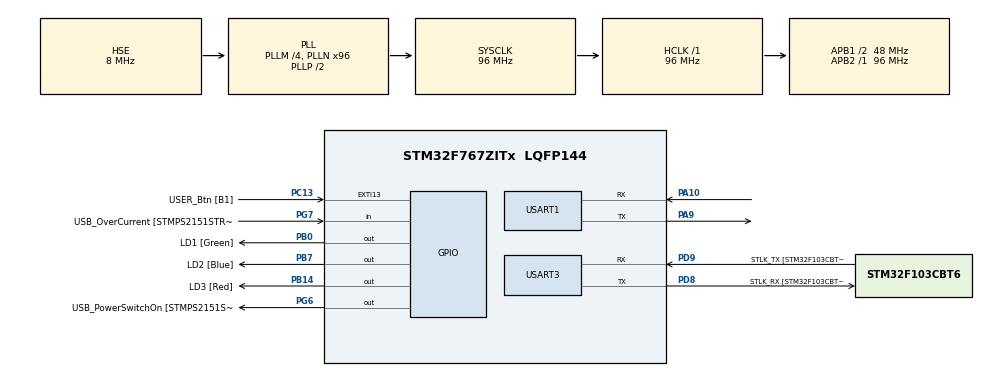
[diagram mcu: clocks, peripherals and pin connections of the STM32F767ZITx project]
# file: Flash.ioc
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Mcu.Family=STM32F7
Mcu.Name=STM32F767ZITx
Mcu.Package=LQFP144
NVIC.PriorityGroup=NVIC_PRIORITYGROUP_4
NVIC.TIM7_IRQn=true\:15\:0\:false\:false\:true\:false\:true\:true
NVIC.TimeBase=TIM7_IRQn
NVIC.TimeBaseIP=TIM7
NVIC.USART1_IRQn=true\:0\:0\:false\:false\:true\:true\:true\:true
PA10.Mode=Asynchronous
PA10.Signal=USART1_RX
PA13.GPIO_Label=TMS
PA13.Mode=Serial_Wire
PA13.Signal=SYS_JTMS-SWDIO
PA14.GPIO_Label=TCK
PA14.Mode=Serial_Wire
PA14.Signal=SYS_JTCK-SWCLK
PA9.Mode=Asynchronous
PA9.Signal=USART1_TX
PB0.GPIO_Label=LD1 [Green]
PB0.Signal=GPIO_Output
PB14.GPIO_Label=LD3 [Red]
PB14.Signal=GPIO_Output
PB7.GPIO_Label=LD2 [Blue]
PB7.Signal=GPIO_Output
PC13.GPIO_Label=USER_Btn [B1]
PC13.Signal=GPXTI13
PC14/OSC32_IN.Mode=LSE-External-Oscillator
PC14/OSC32_IN.Signal=RCC_OSC32_IN
PC15/OSC32_OUT.Mode=LSE-External-Oscillator
PC15/OSC32_OUT.Signal=RCC_OSC32_OUT
PD8.GPIO_Label=STLK_RX [STM32F103CBT6_PA3]
PD8.Mode=Asynchronous
PD8.Signal=USART3_TX
PD9.GPIO_Label=STLK_TX [STM32F103CBT6_PA2]
PD9.Mode=Asynchronous
PD9.Signal=USART3_RX
PG6.GPIO_Label=USB_PowerSwitchOn [STMPS2151STR_EN]
PG6.Signal=GPIO_Output
PG7.GPIO_Label=USB_OverCurrent [STMPS2151STR_FAULT]
PG7.Signal=GPIO_Input
PH0/OSC_IN.GPIO_Label=MCO [STM32F103CBT6_PA8]
PH0/OSC_IN.Mode=HSE-External-Clock-Source
PH0/OSC_IN.Signal=RCC_OSC_IN
PH1/OSC_OUT.Mode=HSE-External-Clock-Source
PH1/OSC_OUT.Signal=RCC_OSC_OUT
ProjectManager.HeapSize=0x200
ProjectManager.StackSize=0x400
ProjectManager.TargetToolchain=STM32CubeIDE
RCC.48MHZClocksFreq_Value=24000000
RCC.AHBFreq_Value=96000000
RCC.APB1CLKDivider=RCC_HCLK_DIV2
RCC.APB1Freq_Value=48000000
RCC.APB1TimFreq_Value=96000000
RCC.APB2Freq_Value=96000000
RCC.APB2TimFreq_Value=96000000
RCC.CortexFreq_Value=96000000
RCC.HCLKFreq_Value=96000000
RCC.HSE_VALUE=8000000
RCC.HSI_VALUE=16000000
RCC.PLLM=4
RCC.PLLMUL=RCC_PLL_MUL9
RCC.PLLN=96
RCC.PLLQ=4
RCC.PLLSourceVirtual=RCC_PLLSOURCE_HSE
RCC.PRESCALERUSB=RCC_USBCLKSOURCE_PLL_DIV1_5
RCC.SYSCLKFreq_VALUE=96000000
RCC.SYSCLKSource=RCC_SYSCLKSOURCE_PLLCLK
RCC.SYSCLKSourceVirtual=RCC_SYSCLKSOURCE_PLLCLK
RCC.USBFreq_Value=48000000
RCC.VCOOutputFreq_Value=192000000
USART1.VirtualMode-Asynchronous=VM_ASYNC
USART3.VirtualMode-Asynchronous=VM_ASYNC
VP_SYS_VS_tim7.Mode=TIM7
board=NUCLEO-F767ZI

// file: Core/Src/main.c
/* USER CODE BEGIN Header */
/**
  ******************************************************************************
  * @file           : main.c
  * @brief          : Main program body
  ******************************************************************************
  * @attention
  *
  * Copyright (c) 2022 STMicroelectronics.
  * All rights reserved.
  *
  * This software is licensed under terms that can be found in the LICENSE file
  * in the root directory of this software component.
  * If no LICENSE file comes with this software, it is provided AS-IS.
  *
  ******************************************************************************
  */
/* USER CODE END Header */
#include "main.h"
#include "usart.h"
#include "gpio.h"

/* USER CODE BEGIN Includes */
#include "FLASH.h"
#include "String.h"
/* USER CODE END Includes */

/* USER CODE BEGIN PV */

char buffer[10];
char rx;
char string[10];

int i;

 uint32_t frx[10];
 char fstring[30] ;

/* USER CODE END PV */

void SystemClock_Config(void);

int main(void)
{

  /* MCU Configuration--------------------------------------------------------*/

  /* Reset of all peripherals, Initializes the Flash interface and the Systick. */
  HAL_Init();

  /* Configure the system clock */
  SystemClock_Config();

  /* Initialize all configured peripherals */
  MX_GPIO_Init();
  MX_USART3_UART_Init();
  MX_USART1_UART_Init();
  /* USER CODE BEGIN 2 */
  __HAL_UART_ENABLE_IT(&huart1,UART_IT_RXNE);
  print("Hello User\r\n");
  print("Send some data ending with * to write at flash sectors\r\n");

  /* USER CODE END 2 */

  /* Infinite loop */
  while (1)
  {

  }
}

void SystemClock_Config(void)
{
  RCC_OscInitTypeDef RCC_OscInitStruct = {0};
  RCC_ClkInitTypeDef RCC_ClkInitStruct = {0};

  /** Configure LSE Drive Capability
  */
  HAL_PWR_EnableBkUpAccess();

  /** Configure the main internal regulator output voltage
  */
  __HAL_RCC_PWR_CLK_ENABLE();
  __HAL_PWR_VOLTAGESCALING_CONFIG(PWR_REGULATOR_VOLTAGE_SCALE3);

  /** Initializes the RCC Oscillators according to the specified parameters
  * in the RCC_OscInitTypeDef structure.
  */
  RCC_OscInitStruct.OscillatorType = RCC_OSCILLATORTYPE_HSE;
  RCC_OscInitStruct.HSEState = RCC_HSE_BYPASS;
  RCC_OscInitStruct.PLL.PLLState = RCC_PLL_ON;
  RCC_OscInitStruct.PLL.PLLSource = RCC_PLLSOURCE_HSE;
  RCC_OscInitStruct.PLL.PLLM = 4;
  RCC_OscInitStruct.PLL.PLLN = 96;
  RCC_OscInitStruct.PLL.PLLP = RCC_PLLP_DIV2;
  RCC_OscInitStruct.PLL.PLLQ = 4;
  RCC_OscInitStruct.PLL.PLLR = 2;
  if (HAL_RCC_OscConfig(&RCC_OscInitStruct) != HAL_OK)
  {
    Error_Handler();
  }

  /** Activate the Over-Drive mode
  */
  if (HAL_PWREx_EnableOverDrive() != HAL_OK)
  {
    Error_Handler();
  }

  /** Initializes the CPU, AHB and APB buses clocks
  */
  RCC_ClkInitStruct.ClockType = RCC_CLOCKTYPE_HCLK|RCC_CLOCKTYPE_SYSCLK
                              |RCC_CLOCKTYPE_PCLK1|RCC_CLOCKTYPE_PCLK2;
  RCC_ClkInitStruct.SYSCLKSource = RCC_SYSCLKSOURCE_PLLCLK;
  RCC_ClkInitStruct.AHBCLKDivider = RCC_SYSCLK_DIV1;
  RCC_ClkInitStruct.APB1CLKDivider = RCC_HCLK_DIV2;
  RCC_ClkInitStruct.APB2CLKDivider = RCC_HCLK_DIV1;

  if (HAL_RCC_ClockConfig(&RCC_ClkInitStruct, FLASH_LATENCY_3) != HAL_OK)
  {
    Error_Handler();
  }
}

/* USER CODE BEGIN 4 */

void HAL_UART_RxCpltCallback(UART_HandleTypeDef *huart)
{

	switch(rx)
	{

	case '*' :   strncpy(string,buffer,i);
	                 i=0;

	           int numofwords = (strlen(string)/4)+((strlen(string)%4)!=0);
	           Flash_Erase_Sector(ADDR_FLASH_SECTOR_2,numofwords);
	           Flash_Write_Data(ADDR_FLASH_SECTOR_2 , (uint32_t *)string, numofwords);
	           Flash_Read_Data(ADDR_FLASH_SECTOR_2 , frx, numofwords);
	           Convert_To_Str(frx, fstring);
	           print(fstring);
	           HAL_NVIC_SystemReset();

	           break;

	default : buffer[i++]=rx;

	}
}

/* USER CODE END 4 */

void HAL_TIM_PeriodElapsedCallback(TIM_HandleTypeDef *htim)
{
  if (htim->Instance == TIM7) {
    HAL_IncTick();
  }
}

void Error_Handler(void)
{
  __disable_irq();
  while (1)
  {
  }
}
